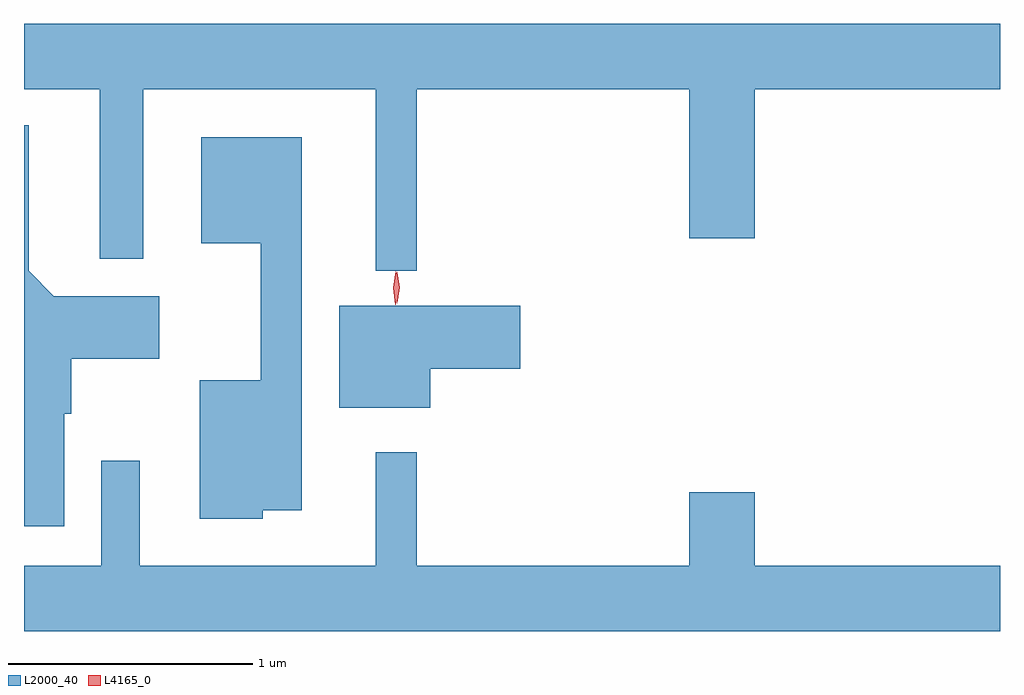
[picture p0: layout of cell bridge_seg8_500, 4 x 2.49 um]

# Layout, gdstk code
import gdstk
lib = gdstk.Library(unit=1e-6, precision=1e-09)
def P(c, l, *ps):  # polygons
    for p in ps: c.add(gdstk.Polygon(p, *l))
L2000_40 = (2000, 40)
L4165_0 = (4165, 0)

bridge_seg8_500 = lib.new_cell('bridge_seg8_500')
P(bridge_seg8_500, L2000_40, [(293.879,1905.236),(294.996,1905.236),(294.996,1904.626),(295.264,1904.626),(295.264,1905.236),(296.27,1905.236),(296.27,1905.504),(292.27,1905.504),(292.27,1905.236),(292.581,1905.236),(292.581,1904.541),(292.759,1904.541),(292.759,1905.236),(293.711,1905.236),(293.711,1904.493),(293.879,1904.493)],
  [(292.434,1903.906),(292.464,1903.906),(292.464,1904.131),(292.824,1904.131),(292.824,1904.389),(292.392,1904.389),(292.289,1904.492),(292.289,1905.088),(292.27,1905.088),(292.27,1903.446),(292.434,1903.446)],
  [(293.249,1903.511),(293.409,1903.511),(293.409,1905.039),(292.996,1905.039),(292.996,1904.606),(293.241,1904.606),(293.241,1904.044),(292.991,1904.044),(292.991,1903.476),(293.249,1903.476)],
  [(293.934,1904.091),(294.304,1904.091),(294.304,1904.349),(293.561,1904.349),(293.561,1903.931),(293.934,1903.931)],
  [(296.27,1903.284),(295.264,1903.284),(295.264,1903.584),(294.996,1903.584),(294.996,1903.284),(293.879,1903.284),(293.879,1903.748),(293.711,1903.748),(293.711,1903.284),(292.744,1903.284),(292.744,1903.713),(292.586,1903.713),(292.586,1903.284),(292.27,1903.284),(292.27,1903.016),(296.27,1903.016)])
P(bridge_seg8_500, L4165_0, [(293.792,1904.354),(293.792,1904.354),(293.783,1904.422),(293.793,1904.49),(293.794,1904.49),(293.794,1904.49),(293.803,1904.422),(293.793,1904.354)],
  [(293.799,1904.36),(293.789,1904.424),(293.798,1904.486),(293.799,1904.487),(293.8,1904.486),(293.809,1904.424),(293.8,1904.36),(293.8,1904.36)])

lib.write_gds('bridge_seg8_500.gds')
